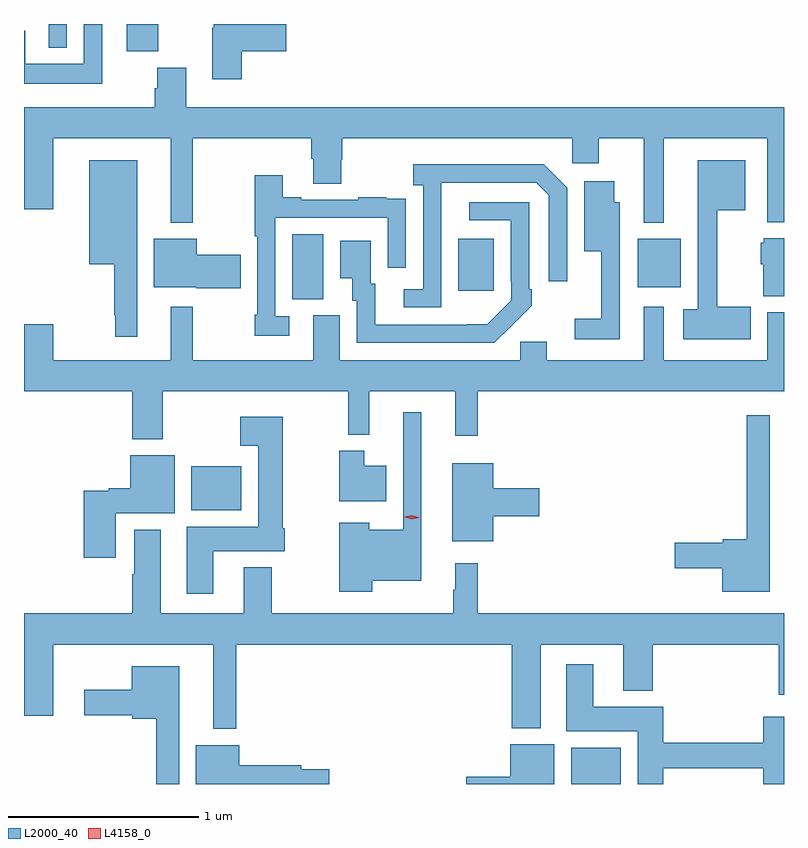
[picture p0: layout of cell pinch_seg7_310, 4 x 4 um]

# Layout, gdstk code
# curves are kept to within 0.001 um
import gdstk
lib = gdstk.Library(unit=1e-6, precision=1e-09)
def R(c, l, rs):  # rectangles x0, y0, x1, y1
    for r in rs: c.add(gdstk.rectangle(r[:2], r[2:], *l))
def P(c, l, *ps):  # polygons
    for p in ps: c.add(gdstk.Polygon(p, *l))
L2000_40 = (2000, 40)
L4158_0 = (4158, 0)

pinch_seg7_310 = lib.new_cell('pinch_seg7_310')
R(pinch_seg7_310, L2000_40, [(371.693,1049.166,371.956,1049.356), (369.695,1050.608,369.958,1050.838), (370.226,1051.717,370.39,1052.06), (371.099,1051.761,371.287,1052.035), (372.044,1051.781,372.271,1052.035), (369.356,1053.022,369.52,1053.166), (368.943,1053.041,369.039,1053.166)])
P(pinch_seg7_310, L2000_40, [(369.226,1053.166),(369.129,1053.166),(369.129,1052.956),(368.82,1052.956),(368.82,1053.13),(368.814,1053.13),(368.814,1052.852),(369.226,1052.852)],
  [(369.959,1053.022),(370.195,1053.022),(370.195,1053.164),(369.959,1053.164),(369.959,1053.166),(369.813,1053.166),(369.813,1053.147),(369.806,1053.147),(369.806,1052.874),(369.959,1052.874)],
  [(369.701,1052.564),(370.325,1052.564),(370.325,1052.458),(370.337,1052.458),(370.337,1052.326),(370.485,1052.326),(370.485,1052.451),(370.49,1052.451),(370.49,1052.564),(371.7,1052.564),(371.7,1052.433),(371.839,1052.433),(371.839,1052.564),(372.077,1052.564),(372.077,1052.12),(372.181,1052.12),(372.181,1052.564),(372.725,1052.564),(372.725,1052.123),(372.814,1052.123),(372.814,1052.728),(369.668,1052.728),(369.668,1052.937),(369.515,1052.937),(369.515,1052.828),(369.503,1052.828),(369.503,1052.728),(368.814,1052.728),(368.814,1052.19),(368.968,1052.19),(368.968,1052.564),(369.587,1052.564),(369.587,1052.12),(369.701,1052.12)],
  [(372.64,1051.679),(372.463,1051.679),(372.463,1052.186),(372.61,1052.186),(372.61,1052.449),(372.359,1052.449),(372.359,1051.666),(372.285,1051.666),(372.285,1051.508),(372.64,1051.508)],
  [(369.409,1052.449),(369.158,1052.449),(369.158,1051.901),(369.288,1051.901),(369.288,1051.633),(369.295,1051.633),(369.295,1051.521),(369.409,1051.521)],
  [(371.01,1052.131),(371.011,1052.331),(371.511,1052.331),(371.577,1052.265),(371.577,1051.812),(371.673,1051.812),(371.673,1052.305),(371.55,1052.428),(370.863,1052.428),(370.863,1052.318),(370.914,1052.318),(370.914,1051.77),(370.812,1051.77),(370.812,1051.674),(371.01,1051.674)],
  [(370.21,1051.629),(370.137,1051.629),(370.137,1052.145),(370.728,1052.145),(370.728,1051.884),(370.824,1051.884),(370.824,1052.138),(370.823,1052.138),(370.823,1052.247),(370.721,1052.247),(370.721,1052.254),(370.573,1052.254),(370.573,1052.241),(370.273,1052.241),(370.273,1052.254),(370.177,1052.254),(370.177,1052.371),(370.029,1052.371),(370.029,1052.048),(370.041,1052.048),(370.041,1051.636),(370.029,1051.636),(370.029,1051.524),(370.21,1051.524)],
  [(371.949,1052.227),(371.92,1052.227),(371.92,1052.338),(371.762,1052.338),(371.762,1051.97),(371.852,1051.97),(371.852,1051.615),(371.712,1051.615),(371.712,1051.506),(371.949,1051.506)],
  [(371.381,1051.579),(371.382,1051.578),(371.487,1051.683),(371.487,1051.771),(371.472,1051.771),(371.472,1052.229),(371.157,1052.229),(371.157,1052.133),(371.376,1052.133),(371.376,1051.813),(371.379,1051.813),(371.379,1051.713),(371.251,1051.585),(370.663,1051.584),(370.663,1051.8),(370.639,1051.8),(370.639,1052.026),(370.478,1052.026),(370.478,1051.829),(370.541,1051.829),(370.541,1051.71),(370.566,1051.71),(370.566,1051.488),(371.29,1051.488)],
  [(372.814,1052.038),(372.708,1052.038),(372.708,1052.016),(372.692,1052.016),(372.692,1051.902),(372.704,1051.902),(372.704,1051.733),(372.814,1051.733)],
  [(369.955,1051.952),(369.724,1051.952),(369.724,1052.035),(369.497,1052.035),(369.497,1051.781),(369.72,1051.781),(369.72,1051.774),(369.955,1051.774)],
  [(369.543,1051.232),(370.521,1051.232),(370.521,1051.004),(370.631,1051.004),(370.631,1051.232),(371.084,1051.232),(371.084,1050.999),(371.201,1050.999),(371.201,1051.232),(372.814,1051.232),(372.814,1051.648),(372.725,1051.648),(372.725,1051.396),(372.181,1051.396),(372.181,1051.678),(372.077,1051.678),(372.077,1051.396),(371.566,1051.396),(371.566,1051.494),(371.427,1051.494),(371.427,1051.396),(370.477,1051.396),(370.477,1051.632),(370.337,1051.632),(370.337,1051.396),(369.701,1051.396),(369.701,1051.678),(369.587,1051.678),(369.587,1051.396),(368.968,1051.396),(368.968,1051.585),(368.814,1051.585),(368.814,1051.232),(369.383,1051.232),(369.383,1050.98),(369.543,1050.98)],
  [(370.647,1050.236),(370.906,1050.236),(370.906,1051.123),(370.809,1051.123),(370.809,1050.505),(370.63,1050.505),(370.63,1050.541),(370.472,1050.541),(370.472,1050.179),(370.647,1050.179)],
  [(372.739,1051.108),(372.618,1051.108),(372.618,1050.455),(372.492,1050.455),(372.492,1050.437),(372.24,1050.437),(372.24,1050.302),(372.488,1050.302),(372.488,1050.179),(372.739,1050.179)],
  [(369.811,1050.392),(370.186,1050.392),(370.186,1050.513),(370.176,1050.513),(370.176,1051.099),(369.951,1051.099),(369.951,1050.947),(370.046,1050.947),(370.046,1050.52),(369.671,1050.52),(369.671,1050.168),(369.811,1050.168)],
  [(370.72,1050.841),(370.606,1050.841),(370.606,1050.919),(370.472,1050.919),(370.472,1050.653),(370.72,1050.653)],
  [(369.298,1050.59),(369.607,1050.59),(369.607,1050.895),(369.374,1050.895),(369.374,1050.722),(369.261,1050.722),(369.261,1050.709),(369.128,1050.709),(369.128,1050.357),(369.298,1050.357)],
  [(371.284,1050.575),(371.527,1050.575),(371.527,1050.722),(371.284,1050.722),(371.284,1050.853),(371.069,1050.853),(371.069,1050.443),(371.284,1050.443)],
  [(369.931,1049.9),(371.381,1049.9),(371.381,1049.459),(371.533,1049.459),(371.533,1049.9),(371.969,1049.9),(371.969,1049.657),(372.122,1049.657),(372.122,1049.9),(372.787,1049.9),(372.787,1049.637),(372.814,1049.637),(372.814,1050.064),(371.201,1050.064),(371.201,1050.328),(371.084,1050.328),(371.084,1050.188),(371.073,1050.188),(371.073,1050.064),(370.119,1050.064),(370.119,1050.307),(369.971,1050.307),(369.971,1050.064),(369.535,1050.064),(369.535,1050.505),(369.395,1050.505),(369.395,1050.269),(369.383,1050.269),(369.383,1050.064),(368.814,1050.064),(368.814,1049.526),(368.968,1049.526),(368.968,1049.9),(369.809,1049.9),(369.809,1049.456),(369.931,1049.456)],
  [(372.179,1049.248),(372.704,1049.248),(372.704,1049.166),(372.814,1049.166),(372.814,1049.521),(372.704,1049.521),(372.704,1049.384),(372.179,1049.384),(372.179,1049.572),(371.809,1049.572),(371.809,1049.797),(371.669,1049.797),(371.669,1049.444),(372.044,1049.444),(372.044,1049.166),(372.179,1049.166)],
  [(369.631,1049.785),(369.38,1049.785),(369.38,1049.662),(369.132,1049.662),(369.132,1049.528),(369.384,1049.528),(369.384,1049.51),(369.51,1049.51),(369.51,1049.166),(369.631,1049.166)],
  [(371.605,1049.374),(371.372,1049.374),(371.372,1049.204),(371.142,1049.204),(371.142,1049.166),(371.605,1049.166)],
  [(370.421,1049.244),(370.274,1049.244),(370.274,1049.264),(369.946,1049.264),(369.946,1049.371),(369.719,1049.371),(369.719,1049.166),(370.421,1049.166)])
P(pinch_seg7_310, L4158_0, [(370.855,1050.56),(370.82,1050.571),(370.819,1050.572),(370.82,1050.572),(370.856,1050.58),(370.891,1050.569),(370.891,1050.569),(370.891,1050.568)])

lib.write_gds('pinch_seg7_310.gds')
